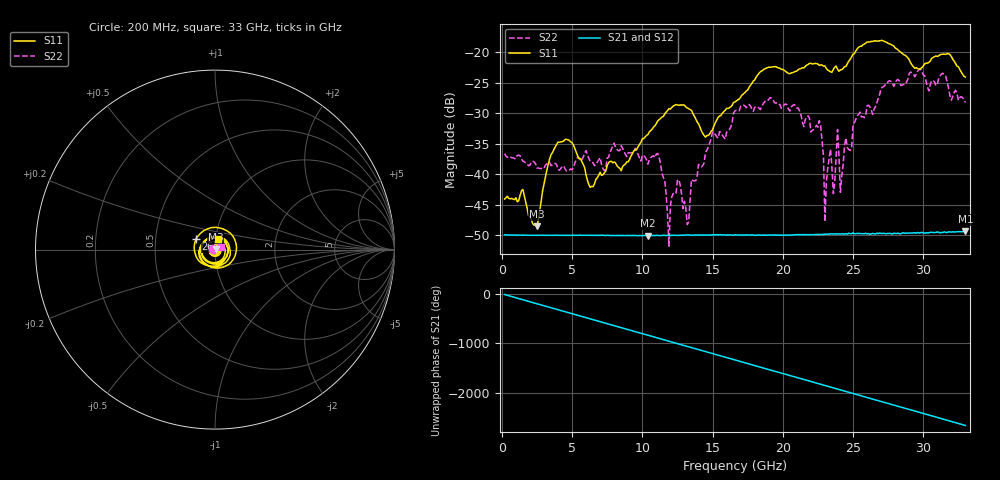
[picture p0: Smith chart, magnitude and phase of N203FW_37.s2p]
# GHZ S RI R 50
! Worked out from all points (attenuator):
!   329 points, 200 MHz to 33 GHz, reference 50 ohm
!   highest |S21| = -49.36 dB at 33 GHz (marker M1); lowest = -50.1 dB at 10.4 GHz (marker M2)
!   lowest |S11| = -48.6 dB at 2.5 GHz (marker M3), VSWR 1.01, Z = 50.3 + j0.137 ohm
!   |S11| at or under -10 dB: start of sweep to end of sweep
!   |S22| runs from -51.8 to -22.8 dB; largest |S21 - S12| = 8.8e-05
!   S11 on the Smith chart (normalised r, x): 200 MHz: 1.01, +0.00; 26 GHz: 0.80, +0.09; 33 GHz: 1.02, +0.12
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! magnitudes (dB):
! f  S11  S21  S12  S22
! 200 MHz  -44.1  -50.0  -49.9  -36.6
! 2.5 GHz  -48.6  -50.1  -50.0  -39.0
! 4 GHz  -34.8  -50.0  -50.0  -39.2
! 5.7 GHz  -37.9  -50.0  -50.0  -37.6
! 10.4 GHz  -33.5  -50.1  -50.1  -38.4
! 11.2 GHz  -31.1  -50.1  -50.1  -37.3
! 11.9 GHz  -29.2  -50.1  -50.0  -51.8
! 12.5 GHz  -28.6  -50.1  -50.1  -41.0
! 13.2 GHz  -29.1  -50.0  -50.0  -48.3
! 13.5 GHz  -29.5  -50.0  -50.0  -40.9
! 16.6 GHz  -28.1  -50.0  -50.0  -29.6
! 22.1 GHz  -21.9  -49.9  -49.9  -32.8
! 22.7 GHz  -22.1  -49.9  -49.9  -32.1
! 23 GHz  -22.2  -49.9  -49.8  -47.8
! 23.4 GHz  -23.2  -49.8  -49.8  -35.9
! 23.6 GHz  -22.8  -49.8  -49.8  -43.2
! 23.9 GHz  -22.8  -49.8  -49.8  -32.7
! 24.1 GHz  -22.9  -49.8  -49.8  -43.0
! 24.5 GHz  -22.3  -49.8  -49.7  -34.1
! 26 GHz  -18.3  -49.8  -49.8  -28.8
! 27.6 GHz  -18.6  -49.7  -49.7  -24.7
! 33 GHz  -24.1  -49.4  -49.4  -28.2
